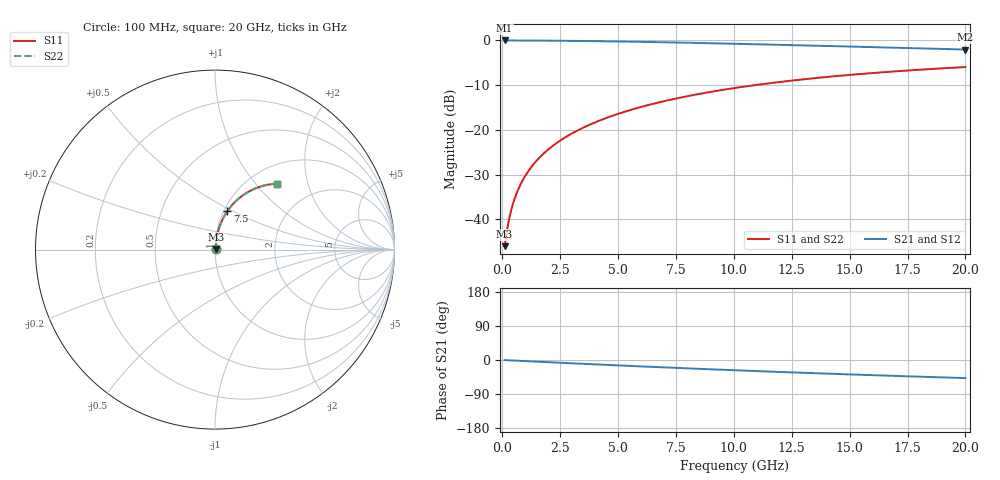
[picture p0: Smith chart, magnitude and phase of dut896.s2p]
! Touchstone file exported from HFSS 2024.1.0
!  File:  C:/UserFiles/LocalFiles/RDL_TSV_Batchsim/temp_RDL_top_896_1779857362.aedt
!  Generated:  12:51:44 PM May 27, 2026
!  Design:  RDL_top
!  Project:  temp_RDL_top_896_1779857362
!  Setup:  Setup1
!  Solution:  Sweep
! Variables:
!  dtsv = 10.80580581um
!  hbump = 3um
!  htsv = 65.36um
!  ldown = 100um
!  lrdl = 615.05um
!  p = 40
!  p1 = 58.77um
!  rhole = 1um
!  t = 450um
!  tdown = 3.915915916um
!  trdl = 3.72um
!  wdown = 15.38538539um
!  wrdl = 15.41um
# GHz S MA R 50.000000
! Terminal data exported
! Port[1] = Box2_T1
! Port[2] = Box2_T2
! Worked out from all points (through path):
!   200 points, 100 MHz to 20 GHz, reference 50 ohm
!   highest |S21| = -0.03 dB at 100 MHz (marker M1); lowest = -2.1 dB at 20 GHz (marker M2)
!   group delay of S21, straight-line fit = 6.61 ps
!   lowest |S11| = -46.0 dB at 100 MHz (marker M3), VSWR 1.01, Z = 50.4 + j0.319 ohm
!   |S11| at or under -10 dB: start of sweep to 10.93 GHz
!   |S22| runs from -46.0 to -6.0 dB; largest |S21 - S12| = 2.5e-14
!   S11 on the Smith chart (normalised r, x): 100 MHz: 1.01, +0.01; 7.5 GHz: 1.04, +0.47; 20 GHz: 1.32, +1.30
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0.1  0.005023 39.0  0.9961 -0.3  0.9961 -0.3  0.005023 39.0
! Gamma 0 0 0 0
! Port Impedance 50 0 50 0
0.2  0.007467 57.4  0.996 -0.6  0.996 -0.6  0.007467 57.4
0.3  0.01026 66.0  0.9958 -0.9  0.9958 -0.9  0.01026 66.0
0.4  0.01315 70.7  0.9956 -1.2  0.9956 -1.2  0.01315 70.7
0.5  0.01608 73.6  0.9955 -1.5  0.9955 -1.5  0.01608 73.6
0.6  0.01902 75.6  0.9953 -1.8  0.9953 -1.8  0.01901 75.6
0.8  0.02493 78.1  0.9949 -2.4  0.9949 -2.4  0.02493 78.1
1.1  0.03385 80.0  0.9942 -3.2  0.9942 -3.2  0.03385 80.1
1.5  0.04582 81.1  0.993 -4.4  0.993 -4.4  0.04582 81.1
1.8  0.05483 81.4  0.9919 -5.3  0.9919 -5.3  0.05483 81.4
2.1  0.06385 81.4  0.9906 -6.1  0.9906 -6.1  0.06385 81.4
2.7  0.08191 81.0  0.9876 -7.8  0.9876 -7.8  0.08192 81.1
3.5  0.106 80.0  0.9826 -10.1  0.9826 -10.1  0.106 80.0
4.2  0.127 78.9  0.9773 -12.1  0.9773 -12.1  0.127 78.9
5  0.1508 77.4  0.9706 -14.3  0.9706 -14.3  0.1509 77.4
6.8  0.2036 73.7  0.9528 -19.0  0.9528 -19.0  0.2037 73.8
7.5  0.2237 72.3  0.9451 -20.8  0.9451 -20.8  0.2238 72.3
8.7  0.2572 69.7  0.9313 -23.8  0.9313 -23.8  0.2574 69.7
10.1  0.2949 66.6  0.9143 -27.2  0.9143 -27.2  0.2951 66.7
13.4  0.3759 59.6  0.8723 -34.7  0.8723 -34.7  0.3761 59.6
16.7  0.445 53.0  0.8298 -41.5  0.8298 -41.5  0.4453 53.0
20  0.5024 47.0  0.7887 -47.7  0.7887 -47.7  0.5028 47.0
